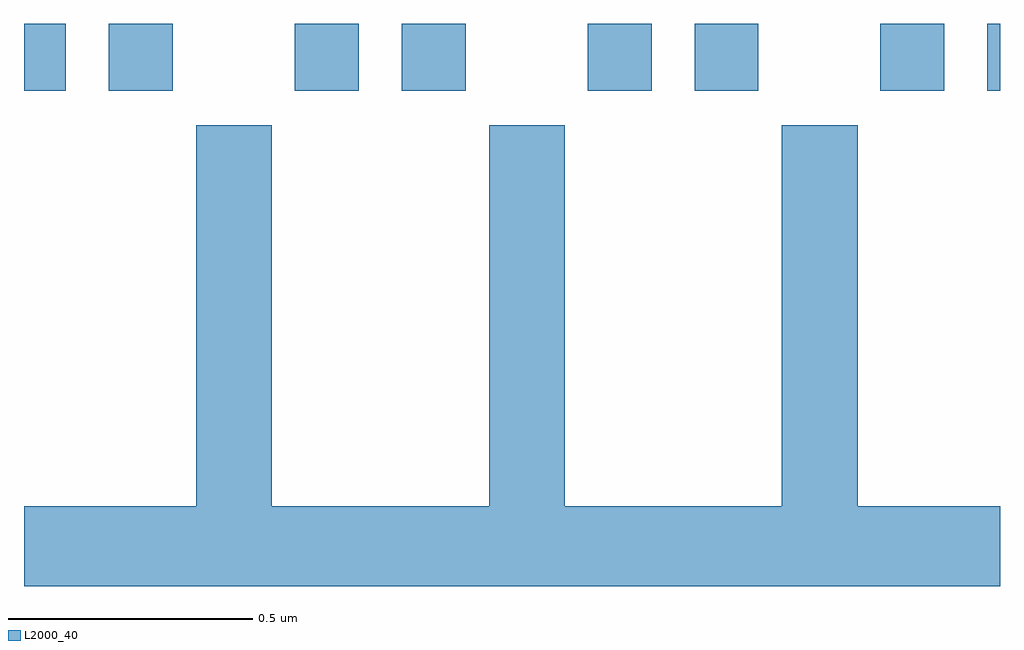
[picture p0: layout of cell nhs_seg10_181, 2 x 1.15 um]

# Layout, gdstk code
import gdstk
lib = gdstk.Library(unit=1e-6, precision=1e-09)
def R(c, l, rs):  # rectangles x0, y0, x1, y1
    for r in rs: c.add(gdstk.rectangle(r[:2], r[2:], *l))
def P(c, l, *ps):  # polygons
    for p in ps: c.add(gdstk.Polygon(p, *l))
L2000_40 = (2000, 40)

nhs_seg10_181 = lib.new_cell('nhs_seg10_181')
R(nhs_seg10_181, L2000_40, [(113,1269.363,113.086,1269.5), (113.174,1269.363,113.305,1269.5), (113.555,1269.363,113.686,1269.5), (113.774,1269.363,113.905,1269.5), (114.155,1269.363,114.286,1269.5), (114.374,1269.363,114.505,1269.5), (114.755,1269.363,114.886,1269.5), (114.974,1269.363,115,1269.5)])
P(nhs_seg10_181, L2000_40, [(115,1268.512),(114.708,1268.512),(114.708,1269.292),(114.553,1269.292),(114.553,1268.512),(114.108,1268.512),(114.108,1269.292),(113.953,1269.292),(113.953,1268.512),(113.508,1268.512),(113.508,1269.292),(113.353,1269.292),(113.353,1268.512),(113,1268.512),(113,1268.348),(115,1268.348)])

lib.write_gds('nhs_seg10_181.gds')
